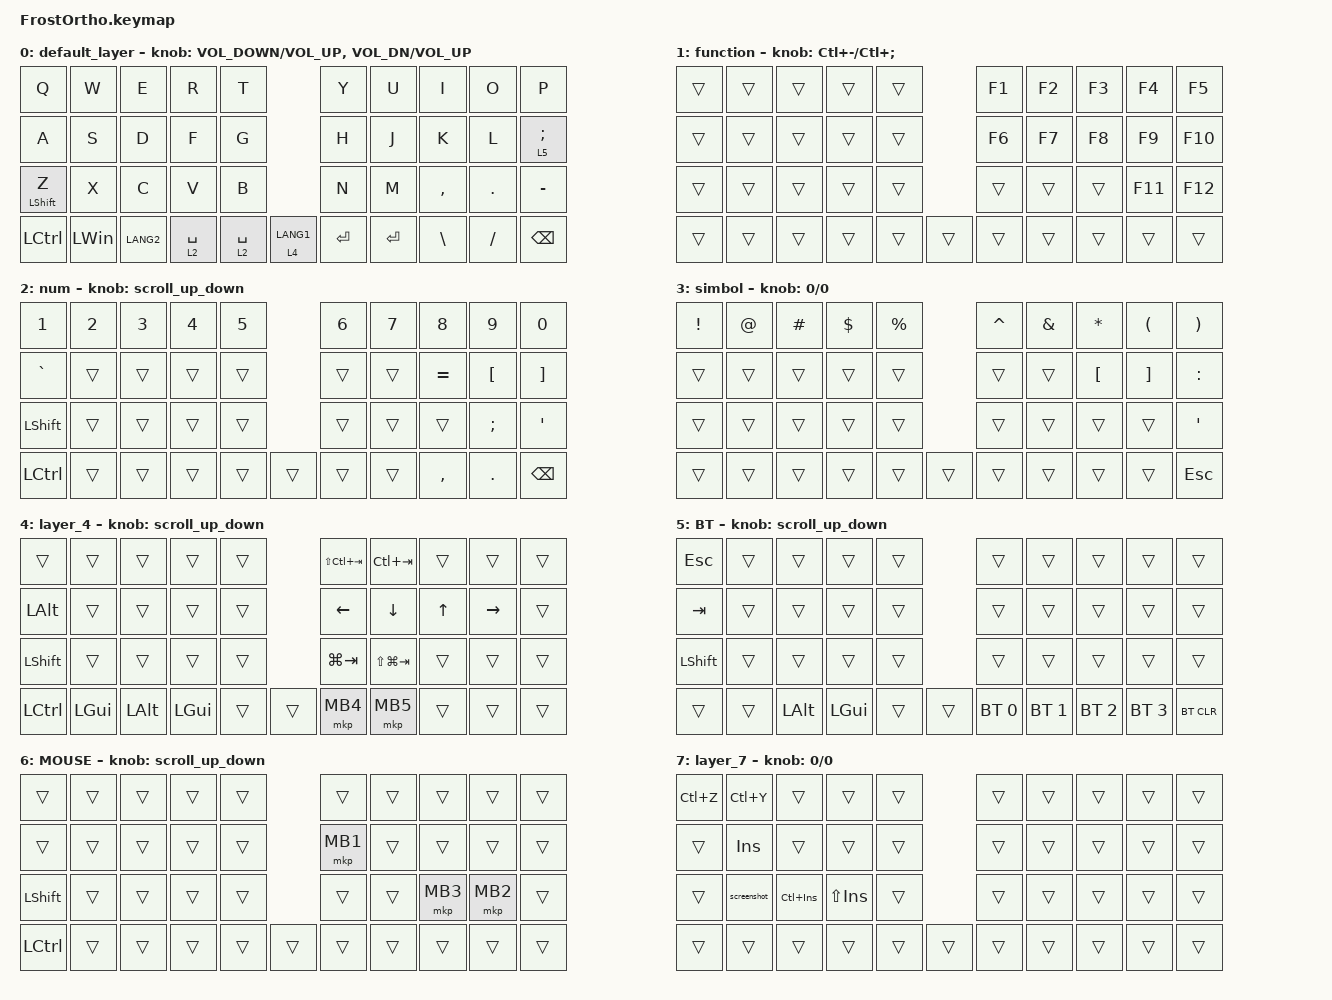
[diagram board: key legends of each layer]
#include <input/processors.dtsi>
#include <behaviors.dtsi>
#include <dt-bindings/zmk/bt.h>
#include <dt-bindings/zmk/keys.h>
#include <dt-bindings/zmk/pointing.h>

#define ZMK_POINTING_DEFAULT_SCRL_VAL 100
#define MOUSE 6

&mt {
    flavor = "balanced";
    quick-tap-ms = <0>;
};

// AML クリックしたときにタイムアウトを延長

&mkp_input_listener { input-processors = <&zip_temp_layer 6 10000>; };

/ {
    combos { compatible = "zmk,combos"; };

    macros {
        to_layer_0: to_layer_0 {
            compatible = "zmk,behavior-macro-one-param";
            #binding-cells = <1>;
            bindings = <&to 0 &macro_param_1to1 &kp MACRO_PLACEHOLDER>;
            label = "TO_LAYER_0";
        };

        screenshot: screenshot {
            compatible = "zmk,behavior-macro";
            #binding-cells = <0>;
            bindings =
                <&to 7>,
                <&macro_press>,
                <&kp LEFT_WIN &kp LEFT_SHIFT &kp S>,
                <&macro_release>,
                <&kp LEFT_WIN &kp LEFT_SHIFT &kp S>;

            label = "SCREENSHOT";
        };

        shift_click: shift_click {
            compatible = "zmk,behavior-macro";
            #binding-cells = <0>;
            bindings = <&to 6>, <&macro_press>, <&mkp MB3 &kp LEFT_SHIFT>;

            label = "SHIFT_CLICK";
        };
    };

    behaviors {
        lt_to_layer_0: lt_to_layer_0 {
            compatible = "zmk,behavior-hold-tap";
            label = "LAYER_TAP_TO_0";
            bindings = <&mo>, <&to_layer_0>;

            #binding-cells = <2>;
            tapping-term-ms = <300>;
        };

        scroll_up_down: behavior_sensor_rotate_mouse_wheel_up_down {
            compatible = "zmk,behavior-sensor-rotate";
            #sensor-binding-cells = <0>;
            bindings = <&msc SCRL_UP>, <&msc SCRL_DOWN>;

            tap-ms = <20>;
        };
    };

    keymap {
        compatible = "zmk,keymap";

        default_layer {
            bindings = <
&kp Q             &kp W         &kp E      &kp R        &kp T                         &kp Y      &kp U      &kp I          &kp O       &kp P
&kp A             &kp S         &kp D      &kp F        &kp G                         &kp H      &kp J      &kp K          &kp L       &lt 5 SEMI
&mt LEFT_SHIFT Z  &kp X         &kp C      &kp V        &kp B                         &kp N      &kp M      &kp COMMA      &kp PERIOD  &kp MINUS
&kp LEFT_CONTROL  &kp LEFT_WIN  &kp LANG2  &lt 2 SPACE  &lt 2 SPACE  &lt 4 LANG1      &kp ENTER  &kp ENTER  &kp BACKSLASH  &kp SLASH   &kp BACKSPACE
            >;

            sensor-bindings =
                <&inc_dec_kp C_VOLUME_DOWN C_VOLUME_UP>,
                <&inc_dec_kp C_VOL_DN C_VOL_UP>;
        };

        function {
            bindings = <
&trans  &trans  &trans  &trans  &trans              &kp F1  &kp F2  &kp F3  &kp F4   &kp F5
&trans  &trans  &trans  &trans  &trans              &kp F6  &kp F7  &kp F8  &kp F9   &kp F10
&trans  &trans  &trans  &trans  &trans              &trans  &trans  &trans  &kp F11  &kp F12
&trans  &trans  &trans  &trans  &trans  &trans      &trans  &trans  &trans  &trans   &trans
            >;

            sensor-bindings = <&inc_dec_kp LC(MINUS) LC(SEMICOLON)>;
        };

        num {
            bindings = <
&kp N1     &kp N2  &kp N3  &kp N4  &kp N5              &kp N6  &kp N7  &kp N8     &kp N9    &kp N0
&kp GRAVE  &trans  &trans  &trans  &trans              &trans  &trans  &kp EQUAL  &kp LBKT  &kp RBKT
&kp LSHFT  &trans  &trans  &trans  &trans              &trans  &trans  &trans     &kp SEMI  &kp APOS
&kp LCTRL  &trans  &trans  &trans  &trans  &trans      &trans  &trans  &kp COMMA  &kp DOT   &kp BACKSPACE
            >;

            sensor-bindings = <&scroll_up_down>;
        };

        simbol {
            bindings = <
&kp EXCLAMATION  &kp AT  &kp HASH  &kp DOLLAR  &kp PERCENT              &kp CARET  &kp AMPERSAND  &kp ASTRK  &kp LEFT_PARENTHESIS  &kp RIGHT_PARENTHESIS
&trans           &trans  &trans    &trans      &trans                   &trans     &trans         &kp LBKT   &kp RBKT              &kp COLON
&trans           &trans  &trans    &trans      &trans                   &trans     &trans         &trans     &trans                &kp APOS
&trans           &trans  &trans    &trans      &trans       &trans      &trans     &trans         &trans     &trans                &kp ESC
            >;

            sensor-bindings = <&inc_dec_kp 0 0>;
        };

        layer_4 {
            bindings = <
&trans          &trans        &trans    &trans    &trans              &kp LS(LC(TAB))  &kp LC(TAB)      &trans  &trans     &trans
&kp LALT        &trans        &trans    &trans    &trans              &kp LEFT_ARROW   &kp DOWN         &kp UP  &kp RIGHT  &trans
&kp LEFT_SHIFT  &trans        &trans    &trans    &trans              &kp LG(TAB)      &kp LS(LG(TAB))  &trans  &trans     &trans
&kp LCTRL       &kp LEFT_GUI  &kp LALT  &kp LGUI  &trans  &trans      &mkp MB4         &mkp MB5         &trans  &trans     &trans
            >;

            sensor-bindings = <&scroll_up_down>;
        };

        BT {
            bindings = <
&kp ESC         &trans  &trans        &trans        &trans              &trans        &trans        &trans        &trans        &trans
&kp TAB         &trans  &trans        &trans        &trans              &trans        &trans        &trans        &trans        &trans
&kp LEFT_SHIFT  &trans  &trans        &trans        &trans              &trans        &trans        &trans        &trans        &trans
&trans          &trans  &kp LEFT_ALT  &kp LEFT_GUI  &trans  &trans      &bt BT_SEL 0  &bt BT_SEL 1  &bt BT_SEL 2  &bt BT_SEL 3  &bt BT_CLR
            >;

            sensor-bindings = <&scroll_up_down>;
        };

        MOUSE {
            bindings = <
&trans          &trans  &trans  &trans  &trans              &trans    &trans  &trans    &trans    &trans
&trans          &trans  &trans  &trans  &trans              &mkp MB1  &trans  &trans    &trans    &trans
&kp LEFT_SHIFT  &trans  &trans  &trans  &trans              &trans    &trans  &mkp MB3  &mkp MB2  &trans
&kp LCTRL       &trans  &trans  &trans  &trans  &trans      &trans    &trans  &trans    &trans    &trans
            >;

            sensor-bindings = <&scroll_up_down>;
        };

        layer_7 {
            bindings = <
&kp LC(Z)  &kp LC(Y)    &trans       &trans       &trans              &trans  &trans  &trans  &trans  &trans
&trans     &kp INS      &trans       &trans       &trans              &trans  &trans  &trans  &trans  &trans
&trans     &screenshot  &kp LC(INS)  &kp LS(INS)  &trans              &trans  &trans  &trans  &trans  &trans
&trans     &trans       &trans       &trans       &trans  &trans      &trans  &trans  &trans  &trans  &trans
            >;

            sensor-bindings = <&inc_dec_kp 0 0>;
        };
    };
};
